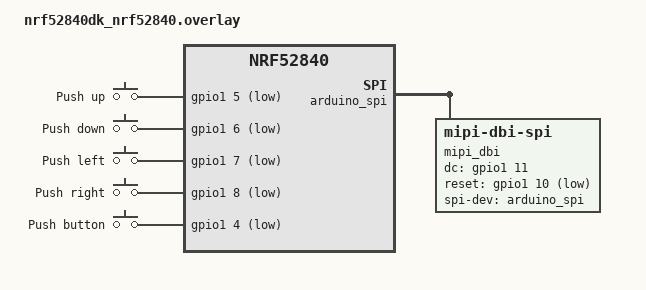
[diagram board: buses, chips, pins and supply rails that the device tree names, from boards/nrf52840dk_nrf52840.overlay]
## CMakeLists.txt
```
cmake_minimum_required(VERSION 3.20.0)
find_package(Zephyr REQUIRED HINTS $ENV{ZEPHYR_BASE})

project(TestGame)

target_sources(app PRIVATE src/main.c src/joystick.c src/display.c src/game.c)
```

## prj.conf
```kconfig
CONFIG_LOG=y
CONFIG_RESET_ON_FATAL_ERROR=n

CONFIG_GPIO=y

CONFIG_MAIN_STACK_SIZE=4096

# TODO 4: Configure use of display and allow display error logs
CONFIG_DISPLAY=y
CONFIG_DISPLAY_LOG_LEVEL_ERR=y

# TODO 5: Give LVGL 32768 bytes of heap and configure LVGL to use the log, label,
# and arc functions. Enable the Montserrat 28 font for the Hello World label
# Hint: Set CONFIG_LV_Z_MEM_POOL_SIZE=32768
# Set CONFIG_LVGL, CONFIG_LV_USE_LOG, CONFIG_LV_USE_LABEL,
# and CONFIG_LV_USE_ARC equal to y(es)
# Hint: Set CONFIG_LV_Z_MEM_POOL_SIZE=32768
CONFIG_LV_Z_MEM_POOL_SIZE=32768
CONFIG_LVGL=y
CONFIG_LV_USE_LOG=y
CONFIG_LV_USE_LABEL=y
CONFIG_LV_USE_ARC=y
CONFIG_LV_FONT_MONTSERRAT_28=y
CONFIG_LV_FONT_MONTSERRAT_22=y
```

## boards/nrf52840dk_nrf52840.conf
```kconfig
# GC9A01 is driven over the MIPI DBI SPI (Mode C) emulation layer
# TODO 1: Configure use of MIPI Display Bus Interface and use GC9X01X display
CONFIG_MIPI_DBI=y
CONFIG_GC9X01X=y

# Keep display diagnostics quiet while retaining display error logs from prj.conf.
CONFIG_LOG_MODE_IMMEDIATE=y
CONFIG_DEVICE_SHELL=y
```

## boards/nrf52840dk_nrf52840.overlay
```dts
/*
 * Overlay wiring a GC9A01 1.28" round SPI display (240x240)
 * to the nRF52840 DK Arduino header.
 *
 * Wiring (display pin -> nRF52840 DK header / signal):
 *   SCL / SCK  -> P1.15 vit
 *   SDA / MOSI -> P1.13 orange
 *   CS         -> P1.12 gul
 *   DC         -> P1.11 brun
 *   RST        -> P1.10 lila
 *   VCC        -> VDD  (3*V3) röd
 *   GND        -> GND grå
 *
 * Wiring for the joystick buttons:
 *   1 (Up)    -> P1.05
 *   2 (Down)  -> P1.06
 *   3 (Left)  -> P1.07
 *   4 (Right) -> P1.08
 *   6 (Button)-> P1.04
 *
 * Pin-layout on the serial contact:
 * ___________
 * \5 4 3 2 1/
 *  \9_8_7_6/
 */
#include <zephyr/dt-bindings/display/panel.h>
#include <zephyr/dt-bindings/gpio/gpio.h>
#include <freq.h>

/* TODO 2: Enable Arduino SPI and configure it for GC9x01x LCD
 * Hint: Use the &arduino_spi node and set status to "okay"
 * Set the chip select cs-gpios property to <&gpio1 12 GPIO_ACTIVE_LOW>
 * Add a child node mipi_dbi with compatible "zephyr,mipi-dbi-spi"
 * Set the spi-dev property to <&arduino_spi>
 * Set the dc-gpios property to <&gpio1 11 GPIO_ACTIVE_HIGH>
 * Set the reset-gpios property to <&gpio1 10 GPIO_ACTIVE_LOW>
 * Set #address-cells to <1> and #size-cells to <0>
 * Set write-only property
 * Add a child node     gc9x01x_lcd     with compatible "galaxycore,gc9x01x"
 * Set LCD address reg to <0>
 * Set mipi-max-frequency to <DT_FREQ_M(20)>
 * Set pixel-format to <PANEL_PIXEL_FORMAT_RGB_565>
 * Set width to <240> and height to <240>
 * Add display-inversion property
 */
 &arduino_spi {
    status = "okay";
    cs-gpios = <&gpio1 12 GPIO_ACTIVE_LOW>;         /* Chip Select pin */

    mipi_dbi: mipi_dbi_spi {
        compatible = "zephyr,mipi-dbi-spi";
        spi-dev = <&arduino_spi>;
        dc-gpios = <&gpio1 11 GPIO_ACTIVE_HIGH>;    /* Data/Command pin */
        reset-gpios = <&gpio1 10 GPIO_ACTIVE_LOW>;  /* Reset pin */
        #address-cells = <1>;
        #size-cells = <0>;
        write-only;

        gc9x01x_lcd: gc9x01x_lcd@0 {
            compatible = "galaxycore,gc9x01x";
            reg = <0>;
            mipi-max-frequency = <DT_FREQ_M(20)>;    /* Adjust maximum SPI clock frequency */
            pixel-format = <PANEL_PIXEL_FORMAT_RGB_565>;
            width = <240>;
            height = <240>;
            display-inversion;
        };
    };
};

/* TODO 3: Set the pointer to gc9x01x_lcd to be the display of choice */
/ {
    chosen {
        zephyr,display = &gc9x01x_lcd;
	};

    joystick {
		compatible = "gpio-keys";

		up: up {
			gpios = <&gpio1 5 (GPIO_PULL_UP | GPIO_ACTIVE_LOW)>;
			label = "Push up";
		};

		down: down {
			gpios = <&gpio1 6 (GPIO_PULL_UP | GPIO_ACTIVE_LOW)>;
			label = "Push down";
		};

		left: left {
			gpios = <&gpio1 7 (GPIO_PULL_UP | GPIO_ACTIVE_LOW)>;
			label = "Push left";
		};

		right: right {
			gpios = <&gpio1 8 (GPIO_PULL_UP | GPIO_ACTIVE_LOW)>;
			label = "Push right";
		};

        button: button {
			gpios = <&gpio1 4 (GPIO_PULL_UP | GPIO_ACTIVE_LOW)>;
			label = "Push button";
		};
	};

    aliases {
		jsup = &up;
		jsdown = &down;
		jsleft = &left;
		jsright = &right;
		jsbtn = &button;
	};
};
```

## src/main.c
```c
#include <zephyr/kernel.h>
#include <zephyr/logging/log.h>

#include <zephyr/device.h>
#include <zephyr/devicetree.h>
#include <zephyr/drivers/gpio.h>

#include <stdio.h>
#include <string.h>
#include <math.h>
#include <stdlib.h>
#include <time.h>

#include "game.h"
#include "display.h"
#include "joystick.h"

#define LOG_LEVEL CONFIG_LOG_DEFAULT_LEVEL

LOG_MODULE_REGISTER(main);

static int use_callback = 1;

static struct gpio_dt_spec mode_button = GPIO_DT_SPEC_GET_OR(DT_ALIAS(sw0), gpios, {0});
static struct gpio_dt_spec fire_button = GPIO_DT_SPEC_GET_OR(DT_ALIAS(sw1), gpios, {0});
static struct gpio_callback button_callback_mode;
static struct gpio_callback button_callback_fire;

static void button_mode_callback(const struct device *port,
								struct gpio_callback *cb,
								uint32_t pins) {
	ARG_UNUSED(port);
	ARG_UNUSED(cb);
	ARG_UNUSED(pins);
	use_callback = set_callback();
	LOG_INF("Use callback: %d", use_callback);
}

static void fire_button_callback(const struct device *port,
								 struct gpio_callback *cb,
								 uint32_t pins) {
	ARG_UNUSED(port);
	ARG_UNUSED(cb);
	ARG_UNUSED(pins);
	LOG_INF("Fake fire button pressed");
	fake_button_pressed();
}

static int configure_mode_button() {
	int err;
	if (!gpio_is_ready_dt(&mode_button)) {
		LOG_ERR("Mode button %s is not ready", mode_button.port->name);
		return -1;
	}

	err = gpio_pin_configure_dt(&mode_button, GPIO_INPUT);
	if (err) {
		LOG_ERR("Failed to configure mode button gpio: %d", err);
		return -1;
	}

	gpio_init_callback(&button_callback_mode, button_mode_callback,
		BIT(mode_button.pin));

	err = gpio_add_callback(mode_button.port, &button_callback_mode);
	if (err) {
		LOG_ERR("Failed to add mode button callback: %d", err);
		return -1;
	}

	err = gpio_pin_interrupt_configure_dt(&mode_button,
					      				  GPIO_INT_EDGE_TO_ACTIVE);
	if (err) {
		LOG_ERR("Failed to enable mode button callback: %d", err);
		return -1;
	}

	return 0;
}

//keep in main
static int configure_fire_button() {
	int err;
	if (!gpio_is_ready_dt(&fire_button)) {
		LOG_ERR("Fire button %s is not ready", fire_button.port->name);
		return -1;
	}

	err = gpio_pin_configure_dt(&fire_button, GPIO_INPUT);
	if (err) {
		LOG_ERR("Failed to configure fire button gpio: %d", err);
		return -1;
	}

	gpio_init_callback(&button_callback_fire, fire_button_callback,
		BIT(fire_button.pin));

	err = gpio_add_callback(fire_button.port, &button_callback_fire);
	if (err) {
		LOG_ERR("Failed to add fire button callback: %d", err);
		return -1;
	}

	err = gpio_pin_interrupt_configure_dt(&fire_button,
					      				  GPIO_INT_EDGE_TO_ACTIVE);
	if (err) {
		LOG_ERR("Failed to enable fire button callback: %d", err);
		return -1;
	}

	return 0;
}

static int configure_device() {
	int ret;

	/*configure mode btn*/
	ret = configure_mode_button();
	if (ret < 0) {
		LOG_ERR("Failed to configure mode button");
		return -1;
	}
	/*configure fire btn*/
	ret = configure_fire_button();
	if (ret < 0) {
		LOG_ERR("Failed to configure fire button");
		return -1;
	}

	LOG_INF("Device successfully configured");

	return 0;
}

int main(void) {
	int ret = configure_display();
	if (ret < 0) {
		LOG_ERR("Failed to configure display");
		return -1;
	}

	ret = configure_device();
	if (ret < 0) {
		LOG_ERR("Could not configure the device");
		return -1;
	}

	ret = configure_joystick();
	if (ret < 0) {
		LOG_ERR("Could not configure the joystick");
		return -1;
	}

	init_display();
	
	show_start_screen();
	
	return 0;
}
```

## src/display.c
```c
#include <zephyr/logging/log.h>
#include <zephyr/drivers/display.h>
#include <lvgl.h>
#include <string.h>

char count_str[11] = {0};
char info_str[21] = {0};	
static lv_style_t end_txt_style;
static lv_style_t start_txt_style;
lv_obj_t *count_label;
lv_obj_t *info_label;
lv_obj_t *player;
lv_obj_t *food = NULL;
lv_obj_t *hunter = NULL;

LOG_MODULE_REGISTER(display);

int configure_display() {
    int ret;
	const struct device *display_dev;
	/* Check if the display device is ready	 */
	display_dev =  DEVICE_DT_GET(DT_CHOSEN(zephyr_display));
	if (!device_is_ready(display_dev)) {
		LOG_ERR("Display device is not ready");
		return -1;
	}
	/* Turn off display blanking to ensure the display is active
	 * Check the return value and if it is less than 0 and not equal to -ENOSYS,
	 * log an error message and return 0
	 */
	ret = display_blanking_off(display_dev);
	if (ret < 0 && ret != -ENOSYS) {
		LOG_ERR("Failed to turn blanking off (error %d)", ret);
		return -1;
	}

    return 0;
}

void init_display() {
    lv_style_init(&end_txt_style);
	lv_style_set_text_font(&end_txt_style, &lv_font_montserrat_28);
	lv_style_init(&start_txt_style);
	lv_style_set_text_font(&start_txt_style, &lv_font_montserrat_22);
}

void show_info_label(char *text) {
    if (info_label == NULL) {
        info_label = lv_label_create(lv_screen_active());
	    lv_obj_add_style(info_label, &start_txt_style, LV_STATE_DEFAULT);
        LOG_INF("Info label created");
    }
	lv_label_set_text(info_label, text);
	lv_obj_align(info_label, LV_ALIGN_CENTER, 0, 0);
	lv_timer_handler();
    LOG_INF("Info label text set to: %s", text);
}

void remove_info_label() {
	if (info_label != NULL) {
		lv_obj_del(info_label);
		info_label = NULL;
	}
}

void update_count_label(int hit_count) {
    if (count_label == NULL) {
        count_label = lv_label_create(lv_screen_active());
        lv_obj_align(count_label, LV_ALIGN_BOTTOM_MID, 0, 0);
    }
	sprintf(count_str, "%d", hit_count);
	lv_label_set_text(count_label, count_str);
	lv_timer_handler();
}

void remove_count_label() {
    if (count_label != NULL) {
        lv_obj_del(count_label);
        count_label = NULL;
    }
}

void create_player() {
    if (player == NULL) {
        player = lv_obj_create(lv_screen_active());
	    lv_obj_set_size(player, 25, 25);
	    lv_obj_set_style_radius(player, LV_RADIUS_CIRCLE, LV_PART_MAIN);
    }
	lv_obj_align(player, LV_ALIGN_CENTER, 0, 0);
    lv_timer_handler();
}

void update_player_position(int x, int y) {
    lv_obj_align(player, LV_ALIGN_CENTER, x, y);
    lv_timer_handler();
}

void add_food(int x, int y) {
    if (food == NULL) {
        food = lv_obj_create(lv_screen_active());
        lv_obj_set_size(food, 15, 15);
        lv_obj_set_style_radius(food, LV_RADIUS_CIRCLE, LV_PART_MAIN);
    }
    lv_obj_align(food, LV_ALIGN_CENTER, x, y);
    lv_timer_handler();
}

void remove_food() {
    if (food != NULL) {
        lv_obj_del(food);
        food = NULL;
    }
}

void add_hunter(int x, int y) {
    if (hunter == NULL) {
        hunter = lv_obj_create(lv_screen_active());
        lv_obj_set_size(hunter, 25, 25);
        lv_obj_set_style_radius(hunter, 0, LV_PART_MAIN);
    }
    lv_obj_align(hunter, LV_ALIGN_CENTER, x, y);
    lv_timer_handler();
}

void remove_hunter() {
    if (hunter != NULL) {
        lv_obj_del(hunter);
        hunter = NULL;
    }
}

void update_hunter_position(int x, int y) {
    lv_obj_align(hunter, LV_ALIGN_CENTER, x, y);
    lv_timer_handler();
}

void remove_player() {
    if (player != NULL) {
        lv_obj_del(player);
        player = NULL;
    }
}
```

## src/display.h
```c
#ifndef DISPLAY_H
#define DISPLAY_H

int configure_display();
void init_display();
void show_info_label(char *text);
void remove_info_label();
void update_count_label(int hit_count);
void remove_count_label();


void create_player();
void update_player_position(int x, int y);
void remove_player();

void add_food(int x, int y);
void remove_food();

void add_hunter(int x, int y);
void remove_hunter();
void update_hunter_position(int x, int y);

#endif // DISPLAY_H
```

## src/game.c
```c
#include <zephyr/logging/log.h>
#include <stdio.h>
#include <string.h>
#include <math.h>
#include <stdlib.h>
#include <time.h>

#include "joystick.h"
#include "display.h"

LOG_MODULE_REGISTER(game);

static uint32_t time_count;
static uint32_t hit_count = 0;
static int32_t player_coordinates[2] = {0, 0};
static int is_hunter_active = 0;
int has_food = 0;
// Food coordinates let's say the food is at (1000, 1000) which is outside the display when not displayed.
static int food_coordinates[2] = {1000, 1000};
static int hunter_coordinates[2] = {1000, 1000};
static int fire = 0;
static int food_time = 250;
static int hunter_time = 750;
static int use_callback = 1;

static void start_game();
void show_start_screen();

int set_callback() {
    use_callback = !use_callback;
    return use_callback;
}

void fake_button_pressed() {
	fire = 1;
}

/* Move player left */
static void move_player_left() {
	player_coordinates[0] -= 10;
	int max_offset = (int)(sqrt(14400 - pow(player_coordinates[1], 2)));
	if (player_coordinates[0] < -max_offset) {
		player_coordinates[0] = max_offset;
	}
}

/* Move player right */
static void move_player_right() {
	player_coordinates[0] += 10;
	int max_offset = (int)(sqrt(14400 - pow(player_coordinates[1], 2)));
	if (player_coordinates[0] > max_offset) {
		player_coordinates[0] = -max_offset;
	}
}

/* Move player up */
static void move_player_up() {
	player_coordinates[1] -= 10;
	int max_offset = (int)(sqrt(14400 - pow(player_coordinates[0], 2)));
	if (player_coordinates[1] < -max_offset) {
		player_coordinates[1] = max_offset;
	}
}

/* Move player down */
static void move_player_down() {
	player_coordinates[1] += 10;
	int max_offset = (int)(sqrt(14400 - pow(player_coordinates[0], 2)));
	if (player_coordinates[1] > max_offset) {
		player_coordinates[1] = -max_offset;
	}
}

static void show_food() {
    has_food = 1;
	int  y = rand() % 241 - 120; // Random y offset between -120 and 120
	int max_offset = (int)(sqrt(14400 - pow(y, 2)));
	int x = rand() % (2 * max_offset + 1) - max_offset; // Random x offset based on y
	food_coordinates[0] = x;
	food_coordinates[1] = y;
	add_food(x, y);
	LOG_INF("New food at [%d, %d]", x, y);
}

static int check_collision() {
	int dx;
	int dy;
	if (is_hunter_active) {
		dx = player_coordinates[0] - hunter_coordinates[0];
		dy = player_coordinates[1] - hunter_coordinates[1];
	} else if (has_food) {
		dx = player_coordinates[0] - food_coordinates[0];
		dy = player_coordinates[1] - food_coordinates[1];
	} else {
		return 0; // No collision if neither hunter nor food is active
	}
	int distance_squared = dx * dx + dy * dy;
	if (distance_squared <= 100) { // 10^2 = 100
		return 1; // Collision detected
	} else {
		return 0; // No collision
	}
	
}

static void reset_food() {
	remove_food();
	food_coordinates[0] = 1000;
	food_coordinates[1] = 1000;
	has_food = 0;
	LOG_INF("Food reset");
}

static void create_hunter() {
	hunter_coordinates[0] = food_coordinates[0];
	hunter_coordinates[1] = food_coordinates[1];
	reset_food();
	add_hunter(hunter_coordinates[0], hunter_coordinates[1]);
	is_hunter_active = 1;
    LOG_INF("Hunter created at [%d, %d]", hunter_coordinates[0], hunter_coordinates[1]);
}

static void move_player() {
	int pin_status = use_callback ? get_status() : get_pin_status();
	if (pin_status != 0) {
		LOG_INF("Pin status: %d", pin_status);
		if (pin_status & 4) { 
			move_player_left();
		}
		if (pin_status & 8) { 
			move_player_right();
		}
		if (pin_status & 1) { 
			move_player_up();
		}
		if (pin_status & 2) { 
			move_player_down();
		}
		if (pin_status & 16) { 
			return;
		}
		update_player_position(player_coordinates[0], player_coordinates[1]);
	}
}



static void end_game() {
	remove_player();
	show_info_label("GAME OVER");
	LOG_INF("Game over!");
	while (1) {
		if (is_button_pressed() || fire) {
			fire = 0;
			remove_info_label();
			remove_count_label();
			show_start_screen();
		}
	}
}

static void reset_hunter() {
	remove_hunter();
	hunter_coordinates[0] = 1000;
	hunter_coordinates[1] = 1000;
	time_count = 0;
	is_hunter_active = 0;
	LOG_INF("Hunter reset");
}

static void move_hunter() {
    // move the hunter one pxel closer to the player
    if (time_count % 10 == 0) { // Move the hunter every 10 loops (~100 ms)
        if (hunter_coordinates[0] < player_coordinates[0]) {
            hunter_coordinates[0]++;
        } else if (hunter_coordinates[0] > player_coordinates[0]) {
            hunter_coordinates[0]--;
        }
        if (hunter_coordinates[1] < player_coordinates[1]) {
            hunter_coordinates[1]++;
        } else if (hunter_coordinates[1] > player_coordinates[1]) {
            hunter_coordinates[1]--;
        }
        update_hunter_position(hunter_coordinates[0], hunter_coordinates[1]);
    }
}


static void play_game() {
	LOG_INF("Let the game begin...");
	while (1) {
		/* Increment the time count */
		++time_count;
		move_player();
		if (time_count == food_time) {
			show_food();
			LOG_INF("New food created at [%d, %d]", food_coordinates[0], food_coordinates[1]);
		} else if (time_count == hunter_time) {				
				create_hunter();	
		} else if (time_count == 1250) {
				reset_hunter();
		} else {
			if (check_collision()) {			
				if (is_hunter_active) {
					LOG_INF("Collision detected when on [%d, %d] with hunter at [%d, %d]", player_coordinates[0], player_coordinates[1], hunter_coordinates[0], hunter_coordinates[1]);
					reset_hunter();
					end_game();
				}
				if (has_food) {
					LOG_INF("Collision detected when on [%d, %d] with food at [%d, %d]", player_coordinates[0], player_coordinates[1], food_coordinates[0], food_coordinates[1]);
					reset_food();
					update_count_label(++hit_count);
					time_count = 0;
					if (hit_count%5 == 0) {
						food_time = (food_time>0)? (food_time-50): 1;
						hunter_time = (hunter_time>200)? (hunter_time-50): 200; 
					}
				}	
			} else if (is_hunter_active) {
				move_hunter();	
			} 
		}
		
		k_sleep(K_USEC(9501));
	}
}

static void reset_game_var() {
	hit_count = 0;
	time_count = 0;
	has_food = 0;
	is_hunter_active = 0;
	player_coordinates[0] = 0;
	player_coordinates[1] = 0;
    food_time = 250;
	hunter_time = 750;
}

void start_game() {
	reset_game_var();
	srand(time(NULL));
	remove_info_label();
	create_player();
	update_count_label(hit_count);
	play_game();
}

void show_start_screen() {
	show_info_label("Press fire to start");
	LOG_INF("Start screen up, waiting for button press");
	while (1) {
		if (is_button_pressed() || fire) {
			fire = 0;
			start_game();
		} 
	}
}
```

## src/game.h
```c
#ifndef GAME_H
#define GAME_H

void show_start_screen(void);
int set_callback(void);
void fake_button_pressed(void);

#endif // GAME_H
```

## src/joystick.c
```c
#include <zephyr/kernel.h>
#include <zephyr/device.h>
#include <zephyr/drivers/gpio.h>
#include <zephyr/logging/log.h>

/**
 * Receiver module for handling GPIO inputs.
 * This module reads the status of specific GPIO pins (P1.10, P1.06, P1.07, P1.08, and P1.04).
 * It provides functions to configure the receiver and read pin statuses.
 */

LOG_MODULE_REGISTER(joystick, LOG_LEVEL_INF);

/* P1.05 device (used by read_P1_05) */
#define P1_05_PORT_NODE DT_NODELABEL(gpio1)
const struct device *gpio_05 = DEVICE_DT_GET(P1_05_PORT_NODE);
#define P1_05_PIN 5

/* P1.06 device (used by read_P1_06) */
#define P1_06_PORT_NODE DT_NODELABEL(gpio1)
const struct device *gpio_06 = DEVICE_DT_GET(P1_06_PORT_NODE);
#define P1_06_PIN 6

/* P1.06 device (used by read_P1_07) */
#define P1_07_PORT_NODE DT_NODELABEL(gpio1)
const struct device *gpio_07 = DEVICE_DT_GET(P1_07_PORT_NODE);
#define P1_07_PIN 7

/* P1.08 device (used by read_P1_08) */
#define P1_08_PORT_NODE DT_NODELABEL(gpio1)
const struct device *gpio_08 = DEVICE_DT_GET(P1_08_PORT_NODE);
#define P1_08_PIN 8

/* P1.04 device (used by read_P1_04) */
#define P1_04_PORT_NODE DT_NODELABEL(gpio1)
const struct device *gpio_04 = DEVICE_DT_GET(P1_04_PORT_NODE);
#define P1_04_PIN 4


static struct gpio_dt_spec stick_up = GPIO_DT_SPEC_GET_OR(DT_ALIAS(jsup), gpios, {0});
static struct gpio_dt_spec stick_down = GPIO_DT_SPEC_GET_OR(DT_ALIAS(jsdown), gpios, {0});
static struct gpio_dt_spec stick_left = GPIO_DT_SPEC_GET_OR(DT_ALIAS(jsleft), gpios, {0});
static struct gpio_dt_spec stick_right = GPIO_DT_SPEC_GET_OR(DT_ALIAS(jsright), gpios, {0});
static struct gpio_dt_spec stick_button = GPIO_DT_SPEC_GET_OR(DT_ALIAS(jsbtn), gpios, {0});

static int pin_status_0 = 0;
static int pin_status_1 = 0;
static int pin_status_2 = 0;
static int pin_status_3 = 0;
static int pin_status_4 = 0;
static int btn_pressed = 0;

static int status[5] = {0};
static struct gpio_callback callback_up;
static struct gpio_callback callback_down;
static struct gpio_callback callback_left;
static struct gpio_callback callback_right;
static struct gpio_callback callback_button;

int read_P1_05(void) {

    if (!device_is_ready(gpio_05)) {
        LOG_ERR("gpio_05 device not ready");
        return -1;
    }

    return gpio_pin_get(gpio_05, P1_05_PIN);
}

int read_P1_06(void) {
    if (!device_is_ready(gpio_06)) {
        LOG_ERR("gpio_06 device not ready");
        return -1;
    }
	
    return gpio_pin_get(gpio_06, P1_06_PIN);
}

/* Returns 1 if pin P1.06 is high, 0 if low, or a negative error code */
int read_P1_07(void) {
    if (!device_is_ready(gpio_07)) {
        LOG_ERR("gpio_07 device not ready");
        return -1;
    }

    return gpio_pin_get(gpio_07, P1_07_PIN);
}

int read_P1_08(void) {
    if (!device_is_ready(gpio_08)) {
        LOG_ERR("gpio_08 device not ready");
        return -1;
    }

    return gpio_pin_get(gpio_08, P1_08_PIN);
}

int read_P1_04(void) {
    if (!device_is_ready(gpio_04)) {
        LOG_ERR("gpio_04 device not ready");
        return -1;
    }

    return gpio_pin_get(gpio_04, P1_04_PIN);
}

static void stick_callback(const struct device *port,
								struct gpio_callback *cb,
								uint32_t pins) {
	ARG_UNUSED(port);
	ARG_UNUSED(cb);

	switch (pins) {
		case 16: // Pin P1.04: Button pressed
			status[4] = 1;
			btn_pressed = 1;
			break;
		case 64: // Pin P1.06: Stick down
			status[2] = 1;
			break;
		case 32: // Pin P1.05: Stick up
			status[3] = 1;
			break;
		case 128: // Pin P1.07: Stick left
			status[1] = 1;
			break;
		case 256: // Pin P1.08: Stick right
			status[0] = 1;
			break;
		default:
			break;
	}
	
}

/* Returns 1 if the button was pressed since the last call, 0 otherwise */
int is_button_pressed(void) {
	int tmp = btn_pressed;
	btn_pressed = 0;
	return tmp;
}

/* Returns a bitmask representing the status of pins P1.08, P1.06, P1.07, P1.08 
   and P1.04 with help of a variable set by the callback function */
int get_status(void) {
	int result = 0;
	if (status[0]) {
		result += 8;
		LOG_INF("P1.08 status read: Right");
	}
	if (status[1]) {
		result += 4;
		LOG_INF("P1.07 status read: Left");
	}
	if (status[2]) {
		result += 2;
		LOG_INF("P1.06 status read: Down");
	}
	if (status[3]) {
		result += 1;
		LOG_INF("P1.05 status read: Up");
	}
	if (status[4]) {
		result += 16;
		LOG_INF("P1.04 status read: Button");
	}
	/* Clear the status array after reading */
	for (int i = 0; i < 5; i++) {
		status[i] = 0;
	}
	btn_pressed = 0;
	return result;
}

/* Returns a bitmask representing the status of pins P1.08, P1.06, P1.07, P1.08 
   and P1.04 by reading the pin directly. */
int get_pin_status(void) {
	int result = 0;
	int pin_status = read_P1_05();
	if (pin_status < 0) {
		LOG_ERR("Failed to read P1.05 (error %d)", pin_status);
    } else {
		if (pin_status != pin_status_0) {
			result += 1;
			LOG_INF("P1.05 ON: Up");
		} 
		pin_status_0 = pin_status;
	}
	pin_status = read_P1_06();
	if (pin_status < 0) {
		LOG_ERR("Failed to read P1.06 (error %d)", pin_status);
	} else {		
		if (pin_status != pin_status_1) {
			result += 2;
			LOG_INF("P1.06 ON: Down");
		} 	
		pin_status_1 = pin_status;
	}
	pin_status = read_P1_07();
	if (pin_status < 0) {
		LOG_ERR("Failed to read P1.07 (error %d)", pin_status);
	} else {
		if (pin_status != pin_status_2) {
			result += 4;
			LOG_INF("P1.07 ON: Left");
		} 
		pin_status_2 = pin_status;
	}
	pin_status = read_P1_08();
	if (pin_status < 0) {
		LOG_ERR("Failed to read P1.08 (error %d)", pin_status);
	} else {
		if (pin_status != pin_status_3) {
			result += 8;
			LOG_INF("P1.08 ON: Right");
		}
		pin_status_3 = pin_status;
	}
	pin_status = read_P1_04();
	if (pin_status < 0) {
		LOG_ERR("Failed to read P1.04 (error %d)", pin_status);
	} else {
		pin_status_4 = pin_status;
		if (pin_status != pin_status_4) {
			result += 16;
			LOG_INF("P1.04 ON: Button");
		}
		pin_status_4 = pin_status;
		btn_pressed = pin_status;
	}

	return result;
}

int configure_joystick(void) {
	int err;
	if (gpio_is_ready_dt(&stick_up)) {
		
		err = gpio_pin_configure_dt(&stick_up, GPIO_INPUT);
		if (err) {
			LOG_ERR("Failed to configure button gpio: %d", err);
			return -1;
		}

		gpio_init_callback(&callback_up, stick_callback, 
			BIT(stick_up.pin));
				   		   

		err = gpio_add_callback(stick_up.port, &callback_up);
		if (err) {
			LOG_ERR("Failed to add button callback: %d", err);
			return -1;
		}

		err = gpio_pin_interrupt_configure_dt(&stick_up,
						      				  GPIO_INT_EDGE_TO_ACTIVE);
		if (err) {
			LOG_ERR("Failed to enable stick up callback: %d", err);
			return -1;
		}
	} else {
		LOG_ERR("Stick up %s is not ready", stick_up.port->name);
		return -1;
	}

	if (gpio_is_ready_dt(&stick_down)) {
		err = gpio_pin_configure_dt(&stick_down, GPIO_INPUT);
		if (err) {
			LOG_ERR("Failed to configure stick down gpio: %d", err);
			return -1;
		}

		gpio_init_callback(&callback_down, stick_callback, 
			BIT(stick_down.pin));

		err = gpio_add_callback(stick_down.port, &callback_down);
		if (err) {
			LOG_ERR("Failed to add stick down callback: %d", err);
			return -1;
		}

		err = gpio_pin_interrupt_configure_dt(&stick_down,
						      				  GPIO_INT_EDGE_TO_ACTIVE);
		if (err) {
			LOG_ERR("Failed to enable stick down callback: %d", err);
			return -1;
		}
	} else {
		LOG_ERR("Stick down %s is not ready", stick_down.port->name);
		return -1;
	}

	if (gpio_is_ready_dt(&stick_left)) {
		err = gpio_pin_configure_dt(&stick_left, GPIO_INPUT);
		if (err) {
			LOG_ERR("Failed to configure stick left gpio: %d", err);
			return -1;
		}

		gpio_init_callback(&callback_left, stick_callback, 
			BIT(stick_left.pin));

		err = gpio_add_callback(stick_left.port, &callback_left);
		if (err) {
			LOG_ERR("Failed to add stick left callback: %d", err);
			return -1;
		}

		err = gpio_pin_interrupt_configure_dt(&stick_left,
						      				  GPIO_INT_EDGE_TO_ACTIVE);
		if (err) {
			LOG_ERR("Failed to enable stick left callback: %d", err);
			return -1;
		}
	} else {
		LOG_ERR("Stick left %s is not ready", stick_left.port->name);
		return -1;
	}

	if (gpio_is_ready_dt(&stick_right)) {
		err = gpio_pin_configure_dt(&stick_right, GPIO_INPUT);
		if (err) {
			LOG_ERR("Failed to configure stick right gpio: %d", err);
			return -1;
		}

		gpio_init_callback(&callback_right, stick_callback, 
			BIT(stick_right.pin));

		err = gpio_add_callback(stick_right.port, &callback_right);
		if (err) {
			LOG_ERR("Failed to add stick right callback: %d", err);
			return -1;
		}

		err = gpio_pin_interrupt_configure_dt(&stick_right,
						      				  GPIO_INT_EDGE_TO_ACTIVE);
		if (err) {
			LOG_ERR("Failed to enable stick right callback: %d", err);
			return -1;
		}
	} else {
		LOG_ERR("Stick right %s is not ready", stick_right.port->name);
		return -1;
	}

	if (gpio_is_ready_dt(&stick_button)) {
		err = gpio_pin_configure_dt(&stick_button, GPIO_INPUT);
		if (err) {
			LOG_ERR("Failed to configure button gpio: %d", err);
			return -1;
		}

		gpio_init_callback(&callback_button, stick_callback, 
			BIT(stick_button.pin));

		err = gpio_add_callback(stick_button.port, &callback_button);
		if (err) {
			LOG_ERR("Failed to add button callback: %d", err);
			return -1;
		}

		err = gpio_pin_interrupt_configure_dt(&stick_button,
						      				  GPIO_INT_EDGE_TO_ACTIVE);
		if (err) {
			LOG_ERR("Failed to enable button callback: %d", err);
			//return -1;
		}
	} else {
		LOG_ERR("Button %s is not ready", stick_button.port->name);
		return -1;
	}

	LOG_INF("Joystick joyfully configured");

	return 0;
}
```

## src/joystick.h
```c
#ifndef JOYSTICK_H
#define JOYSTICK_H

int configure_joystick(void);
int get_pin_status(void);
int get_status(void);
int is_button_pressed(void);

#endif // JOYSTICK_H
```
